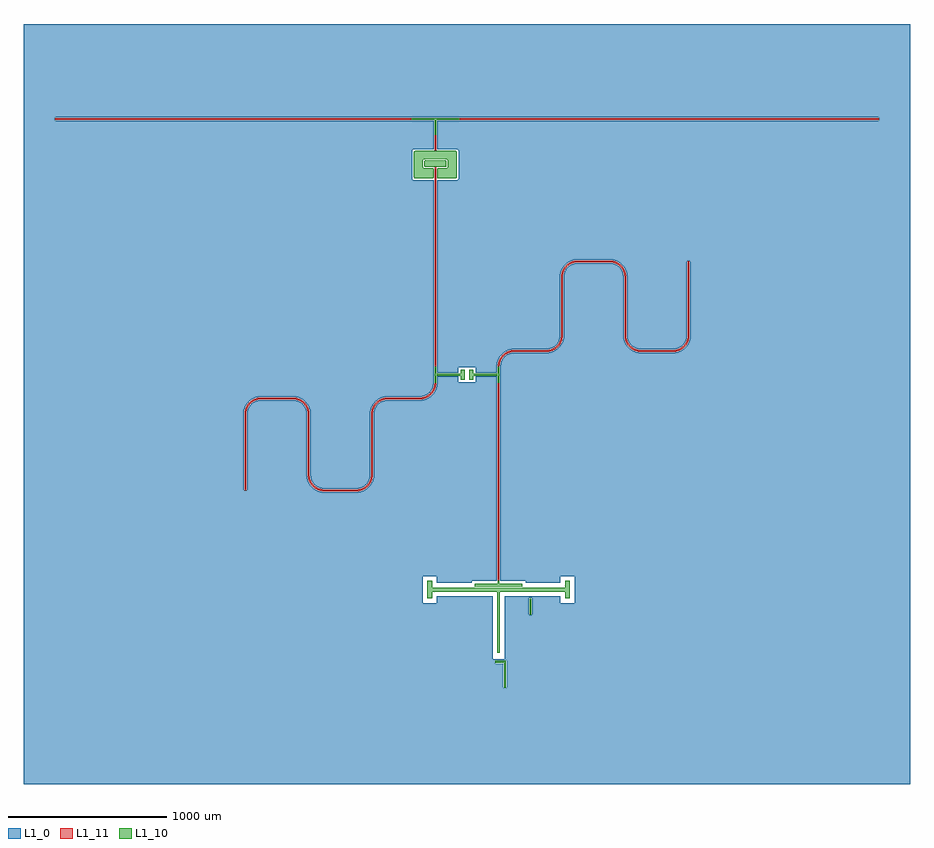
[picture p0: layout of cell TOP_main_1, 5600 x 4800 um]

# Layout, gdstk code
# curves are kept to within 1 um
import gdstk
lib = gdstk.Library(unit=1e-6, precision=1e-09)
def R(c, l, rs):  # rectangles x0, y0, x1, y1
    for r in rs: c.add(gdstk.rectangle(r[:2], r[2:], *l))
def P(c, l, *ps):  # polygons
    for p in ps: c.add(gdstk.Polygon(p, *l))
L1_0 = (1, 0)
L1_10 = (1, 10)
L1_11 = (1, 11)

ground_main_1 = lib.new_cell('ground_main_1')
R(ground_main_1, L1_0, [(-1014.232,-2600,-640.645,-1839), (-640.645,-2600,-344.276,-1839), (-344.276,-2600,-54.765,-1839), (-1014.232,-1839,-640.645,-1823), (-640.645,-1839,-344.276,-1823), (-344.276,-1839,-54.765,-1823), (-1014.232,1611,-640.645,2200), (-640.645,1611,-344.276,2200), (-344.276,1611,-54.765,2200), (-54.765,1611,296.342,2200), (296.342,1611,642.289,2200), (642.289,1611,1013.557,2200)])
P(ground_main_1, L1_0, [(-1058.104,-186.08),(-1075.369,-179.232),(-1096.342,-176.04),(-1301,-176),(-1322.06,-178.557),(-1342.15,-186.218)],
  [(-696.342,-734.687),(-680.53,-732.767),(-665.324,-728.028),(-651.22,-720.626),(-640.645,-712.596),(-640.645,1589),(-1014.232,1589),(-1014.232,-193.913),(-1004.746,-207.289),(-996.813,-223.285),(-991.572,-240.353),(-989.161,-258.045),(-987.998,-659.968),(-985.015,-672.907),(-980.12,-685.25),(-966.869,-705.081),(-957.339,-714.328),(-946.526,-722.035),(-934.676,-728.028),(-922.06,-732.17),(-901,-734.727)],
  [(-640.645,-739.961),(-666.713,-751.881),(-693.045,-756.565),(-909.927,-756.364),(-930.428,-752.717),(-952.525,-743.913),(-972.212,-730.564),(-988.57,-713.296),(-998.186,-698.252),(-1004.253,-684.66),(-1009.029,-667.456),(-1010.839,-652.682),(-1011,-264),(-1014.232,-240.369),(-1014.232,-1823),(-640.645,-1823)],
  [(-638.682,-710.803),(-628.12,-698.881),(-619.88,-685.25),(-614.232,-670.357),(-611.361,-654.691),(-610.96,-261.021),(-607.749,-237.453),(-598.186,-212.475),(-584.838,-192.788),(-567.569,-176.43),(-547.188,-164.167),(-524.647,-156.572),(-503.979,-154.04),(-344.276,-154),(-344.276,1217.387),(-347,1225),(-347,1398),(-344.276,1405.613),(-344.276,1589),(-640.645,1589),(-640.645,-712.596)],
  [(-501,-176),(-516.862,-177.441),(-529.706,-180.814),(-541.896,-186.08),(-555.271,-194.728),(-566.869,-205.645),(-574.899,-216.22),(-581.247,-227.884),(-586.443,-242.94),(-589,-264),(-589.645,-658.62),(-595.747,-684.66),(-606.316,-705.969),(-621.218,-724.508),(-640.645,-739.961),(-640.645,-1823),(-344.276,-1823),(-344.276,-176)],
  [(-189,1589),(-189,1410),(-65,1410),(-59.343,1408.583),(-54.765,1404.238),(-54.765,1589)],
  [(-343.485,1406.485),(-335,1410),(-211,1410),(-211,1589),(-344.276,1589)],
  [(-56,31.5),(-54.765,33.348),(-54.765,1218.762),(-59.343,1214.417),(-65,1213),(-189,1213),(-189,-4),(-56,-4)],
  [(-299,-154),(-283.138,-152.559),(-265.324,-147.301),(-251.22,-139.899),(-238.682,-130.076),(-228.12,-118.154),(-219.88,-104.524),(-213.557,-87.06),(-211.161,-71.313),(-211,1213),(-335,1213),(-339.592,1213.913),(-344.276,1217.387),(-344.276,-154)],
  [(-54.765,-1415),(-190,-1415),(-190,-1457.5),(-280,-1457.5),(-280,-1287.5),(-190,-1287.5),(-190,-1330),(-54.765,-1330),(-54.765,-63.348),(-56,-61.5),(-56,-26),(-189,-26),(-189.161,-71.955),(-193.01,-95.428),(-197.953,-109.467),(-204.746,-122.711),(-213.265,-134.916),(-223.353,-145.86),(-234.827,-155.341),(-247.475,-163.186),(-272.453,-172.749),(-293.045,-175.839),(-344.276,-176),(-344.276,-1823),(-54.765,-1823)],
  [(-54.39,33.462),(54.581,33.414),(56,31.5),(56,-4),(189,-4),(189.04,38.979),(190.971,56.729),(197.953,79.467),(209.659,100.173),(225.543,117.879),(247.475,133.186),(272.453,142.749),(296.342,145.964),(296.342,1589),(-54.765,1589),(-54.765,1404.238),(-53,1398),(-53,1225),(-54.765,1218.762)],
  [(296.342,123.96),(280.53,122.04),(265.324,117.301),(251.22,109.899),(238.682,100.076),(228.12,88.154),(219.88,74.524),(213.557,57.06),(211.161,41.313),(211,-1315),(296.342,-1315)],
  [(30,-1315),(189,-1315),(189,-26),(56,-26),(56,-61.5),(54.581,-63.414),(-54.765,-63.348),(-54.765,-1330),(30,-1330)],
  [(162.5,-1812.5),(162.5,-1415),(-54.765,-1415),(-54.765,-1823),(179.5,-1823),(179.5,-1817),(250.5,-1817),(250.5,-1993.5),(244.5,-1993.5),(244.5,-1823),(-54.765,-1823),(-54.765,-1839),(179.5,-1839),(179.5,-1833),(234.5,-1833),(234.5,-1993.5),(228.5,-1993.5),(228.5,-1839),(-54.765,-1839),(-54.765,-2600),(296.342,-2600),(296.342,-1415),(237.5,-1415),(237.5,-1812.5)],
  [(501,146),(516.862,147.441),(529.706,150.814),(541.896,156.08),(555.271,164.728),(566.869,175.645),(574.899,186.22),(581.247,197.884),(586.443,212.94),(589,234),(589.645,613.703),(595.747,639.743),(606.316,661.052),(623.353,681.669),(642.289,696.064),(642.289,1589),(296.342,1589),(296.342,145.964)],
  [(590,-1287.5),(642.289,-1287.5),(642.289,669.091),(629.728,656.081),(621.08,642.705),(614.232,625.44),(611.361,609.774),(610.96,231.021),(609.551,216.204),(606.155,201.713),(600.833,187.812),(593.684,174.758),(580.86,158.353),(562.731,142.954),(541.715,131.813),(518.796,125.449),(501,124),(296.342,123.96),(296.342,-1315),(370,-1315),(370,-1330),(590,-1330)],
  [(642.289,-1457.5),(590,-1457.5),(590,-1415),(296.342,-1415),(296.342,-1530),(389,-1530),(389,-1424),(411,-1424),(411,-1530),(389,-1530),(296.342,-1530),(296.342,-2600),(642.289,-2600)],
  [(647.475,698.996),(669.572,707.8),(693.045,711.648),(909.927,711.447),(930.428,707.8),(952.525,698.996),(972.212,685.647),(988.57,668.379),(998.186,653.335),(1004.253,639.743),(1009.029,622.539),(1010.839,607.765),(1011,234),(1013.557,212.94),(1013.557,1589),(642.289,1589),(642.289,696.064)],
  [(1013.557,164.73),(1004.746,177.289),(996.813,193.285),(992.251,207.453),(989.363,225.073),(988.96,604.468),(987.559,617.672),(984.186,630.515),(978.92,642.705),(971.88,653.964),(959.355,667.679),(941.896,679.73),(924.631,686.577),(906.313,689.649),(691.036,689.449),(677.94,687.253),(665.324,683.111),(653.474,677.118),(642.289,669.091),(642.289,-1287.5),(680,-1287.5),(680,-1457.5),(642.289,-1457.5),(642.289,-2600),(1013.557,-2600)],
  [(-1014.232,-240.369),(-1019.88,-225.476),(-1029.728,-209.729),(-1042.661,-196.399),(-1057.85,-186.218),(-1342.15,-186.218),(-1357.339,-196.399),(-1370.272,-209.729),(-1378.92,-223.104),(-1384.186,-235.294),(-1387.559,-248.138),(-1388.96,-261.342),(-1389,-745.727),(-1411,-745.727),(-1410.839,-258.045),(-1407.749,-237.453),(-1400.833,-217.812),(-1392.046,-202.269),(-1378.782,-186.218),(-2800,-186.218),(-2800,-2600),(-1014.232,-2600)],
  [(-1014.232,-186.218),(-1021.218,-186.218),(-1019.14,-188.353),(-1017.121,-190.543),(-1015.162,-192.788),(-1014.232,-193.913)],
  [(-1014.232,1589),(-2600,1589),(-2600,1611),(-1014.232,1611),(-1014.232,2200),(-2800,2200),(-2800,-186.218),(-1378.782,-186.218),(-1362.731,-172.954),(-1341.715,-161.813),(-1321.729,-155.971),(-1301,-154),(-1087.107,-154.645),(-1072.453,-157.251),(-1055.533,-162.953),(-1037.269,-172.954),(-1021.218,-186.218),(-1014.232,-186.218)],
  [(2800,158.691),(1381.171,158.691),(1365.173,144.659),(1344.467,132.953),(1324.647,126.572),(1301,124),(1087.107,124.645),(1069.572,128.01),(1052.812,134.167),(1034.827,144.659),(1018.829,158.691),(1013.557,158.691),(1013.557,-2600),(2800,-2600)],
  [(1303.658,146.04),(1324.631,149.232),(1346.526,158.691),(1053.474,158.691),(1072.82,149.985),(1093.687,146.161)],
  [(2800,2200),(1013.557,2200),(1013.557,1611),(2600,1611),(2600,1589),(1013.557,1589),(1013.557,212.94),(1017.699,200.324),(1023.691,188.474),(1031.399,177.661),(1040.645,168.131),(1053.474,158.691),(1346.526,158.691),(1361.318,169.924),(1373.423,184.01),(1384.186,205.294),(1387.559,218.138),(1388.96,231.342),(1389,700.81),(1411,700.81),(1410.839,228.045),(1407.749,207.453),(1402.047,190.533),(1393.684,174.758),(1381.171,158.691),(2800,158.691)],
  [(1017.121,160.543),(1015.162,162.788),(1013.557,164.73),(1013.557,158.691),(1018.829,158.691)])

top_main_1 = lib.new_cell('TOP_main_1')
P(top_main_1, L1_10, [(-205,1500),(-205,1595),(-350,1595),(-350,1605),(-50,1605),(-50,1595),(-195,1595),(-195,1500),(-205,1500)],
  [(-270,1330),(-267.657,1335.657),(-262.784,1337.961),(-136.439,1337.846),(-132.343,1335.657),(-130.154,1331.561),(-130.154,1303.439),(-132.925,1298.816),(-138,1297),(-263.561,1297.154),(-267.657,1299.343),(-269.846,1303.439)],
  [(-218.902,1225.005),(-213.779,1226.948),(-211.067,1232.022),(-211.861,1284.594),(-218.022,1288.933),(-270,1289),(-275.075,1290.816),(-277.961,1296.216),(-278,1338),(-275.657,1343.657),(-270.784,1345.961),(-211,1346),(-211,1398),(-326.902,1398),(-331.276,1396.753),(-333.954,1393.94),(-335,1389.902),(-335,1233.098),(-333.753,1228.724),(-327.098,1225.005)],
  [(-72.902,1225.005),(-67.489,1227.211),(-65.005,1232.902),(-65,1389.902),(-66.699,1394.917),(-73.098,1398),(-211,1398),(-211,1346),(-129.216,1345.961),(-124.343,1343.657),(-122.039,1338.784),(-122.039,1296.216),(-124.925,1290.816),(-130,1289),(-181.588,1288.971),(-187.954,1284.94),(-189,1233.098),(-187.301,1228.083),(-181.098,1225.005)],
  [(-195,35),(-195,-10),(-40,-10),(-39.546,16.769),(-16.235,17.348),(-15,15.5),(-15.152,-46.265),(-17,-47.5),(-39.414,-46.914),(-40,-20),(-195,-20),(-195,-65),(-205,-65),(-205,35)],
  [(16.804,-47.49),(15,-45.5),(15,15.5),(16.235,17.348),(39.546,16.769),(40,-10),(195,-10),(195,35),(205,35),(205,-65),(195,-65),(195,-20),(40,-20),(39.546,-46.769)],
  [(-250,-1317.5),(-250,-1427.5),(-220,-1427.5),(-220,-1385),(192.5,-1385),(192.5,-1772.5),(207.5,-1772.5),(207.5,-1385),(620,-1385),(620,-1427.5),(650,-1427.5),(650,-1317.5),(620,-1317.5),(620,-1360),(-220,-1360),(-220,-1317.5),(-250,-1317.5)],
  [(244.5,-1823),(234.5,-1823),(179.5,-1823),(179.5,-1833),(234.5,-1833),(234.5,-1993.5),(244.5,-1993.5),(244.5,-1833),(244.5,-1823)],
  [(395,-1430),(405,-1430),(405,-1530),(395,-1530),(395,-1430)],
  [(50,-1335),(50,-1355),(350,-1355),(350,-1335),(205,-1335),(205,-1315),(195,-1315),(195,-1335),(50,-1335)])
R(top_main_1, L1_11, [(195,-1315,205,-65), (-205,35,-195,1185), (-205,1185,-195,1297.001), (-205,1397.999,-195,1450), (-205,1450,-195,1500), (-2600,1595,-350,1605), (-50,1595,2600,1605)])
P(top_main_1, L1_11, [(-1395,-264),(-1393.572,-247.677),(-1389.331,-231.85),(-1382.406,-217),(-1373.008,-203.578),(-1361.422,-191.992),(-1348,-182.594),(-1333.15,-175.669),(-1317.323,-171.428),(-1301,-170),(-1088.087,-170.636),(-1072.04,-173.949),(-1054.388,-181.261),(-1040.698,-190.265),(-1028.78,-201.509),(-1028.78,-187.29),(-1037.408,-180.2),(-1059.864,-167.645),(-1084.715,-160.986),(-1301,-160),(-1326.53,-163.182),(-1350.499,-172.535),(-1369.302,-185.573),(-1386.465,-204.74),(-1399.365,-230.231),(-1403.582,-246.882),(-1404.961,-261.134),(-1405,-745.727),(-1395,-745.727)],
  [(-699,-740.727),(-901,-740.727),(-917.323,-739.299),(-938.231,-733.039),(-954.916,-723.727),(-969.373,-711.233),(-982.406,-693.727),(-991.797,-671.056),(-994.96,-649.461),(-995.355,-255.412),(-998.924,-235.701),(-1006.206,-217.041),(-1016.929,-200.122),(-1028.78,-187.29),(-1028.78,-201.509),(-1020.464,-212.346),(-1012.688,-226.769),(-1008.203,-239.671),(-1005.358,-255.807),(-1004.961,-649.592),(-1001.076,-675.025),(-989.6,-701.189),(-975.545,-719.246),(-957.883,-733.792),(-937.466,-744.124),(-915.285,-749.741),(-699,-750.727)],
  [(-696.134,-750.687),(-679.062,-748.798),(-662.534,-744.124),(-647,-736.793),(-632.885,-727.006),(-620.573,-715.029),(-610.4,-701.189),(-602.645,-685.863),(-597.517,-669.469),(-595,-646.727),(-594.841,-258.534),(-592.466,-242.322),(-587.312,-226.769),(-579.536,-212.346),(-569.373,-199.493),(-569.373,-185.636),(-583.071,-200.122),(-593.794,-217.041),(-601.076,-235.701),(-604.645,-255.412),(-605,-646.727),(-607.534,-668.405),(-611.641,-681.432),(-617.594,-693.727),(-625.265,-705.029),(-634.493,-715.1),(-647.346,-725.263),(-664.295,-734.085),(-682.677,-739.299),(-699,-740.727),(-699,-750.727)],
  [(-567.468,-197.532),(-554.916,-187),(-540.726,-178.807),(-527.96,-173.949),(-511.913,-170.636),(-296.134,-169.961),(-281.882,-168.582),(-265.231,-164.365),(-249.501,-157.465),(-235.122,-148.071),(-224.455,-138.519),(-213.535,-125.26),(-204.947,-110.385),(-199.742,-97.046),(-195.986,-80.285),(-195,-65),(-205,-65),(-205.992,-79.624),(-209.771,-95.567),(-216.261,-110.612),(-225.265,-124.302),(-242.867,-141.4),(-254.388,-148.739),(-266.85,-154.331),(-282.677,-158.572),(-296.266,-159.96),(-515.285,-160.986),(-537.466,-166.603),(-560.26,-178.535),(-569.373,-185.636),(-569.373,-199.493)],
  [(205,36),(205.992,49.624),(209.771,65.567),(214.999,78.187),(222,89.916),(230.627,100.507),(242.867,111.4),(254.388,118.739),(266.85,124.331),(282.677,128.572),(296.266,129.96),(501,130),(518.118,131.418),(540.136,137.645),(562.592,150.2),(571.22,157.29),(571.22,171.509),(559.302,160.265),(545.612,151.261),(527.96,143.949),(511.913,140.636),(296.134,139.961),(279.062,138.071),(262.534,133.397),(244.538,124.6),(230.698,114.427),(218.721,102.115),(208.933,88),(199.742,67.046),(195.355,44.588),(195,35),(205,35)],
  [(571.437,157.485),(584.8,172.408),(595.053,189.615),(601.818,208.47),(604.645,225.412),(605.04,604.544),(608.949,628.769),(618.995,651.157),(630.627,666.316),(645.084,678.81),(661.769,688.122),(679.992,693.868),(699,695.81),(901,695.81),(901,705.81),(699,705.81),(681.882,704.391),(659.864,698.165),(639.74,687.275),(624.455,674.329),(610.4,656.272),(598.924,630.108),(595.039,604.675),(594.642,225.807),(591.797,209.671),(587.312,196.769),(579.536,182.346),(571.22,171.509)],
  [(1030.627,169.493),(1020.464,182.346),(1012.688,196.769),(1007.534,212.322),(1005.159,228.534),(1005,601.81),(1001.818,627.34),(996.24,643.586),(988.065,658.692),(977.515,672.247),(964.878,683.88),(950.499,693.275),(934.769,700.175),(918.118,704.391),(901,705.81),(901,695.81),(917.323,694.382),(933.15,690.141),(950.348,681.815),(963.491,672.03),(974.735,660.112),(982.406,648.81),(988.359,636.515),(992.466,623.488),(995,601.81),(995.355,225.412),(1000.635,200.231),(1010.4,179.538),(1018.721,167.885),(1030.627,155.636)],
  [(1303.866,130.039),(1320.938,131.929),(1337.466,136.603),(1355.462,145.4),(1369.302,155.573),(1381.279,167.885),(1391.067,182),(1399.365,200.231),(1403.582,216.882),(1405,234),(1405,700.81),(1395,700.81),(1394.841,228.534),(1390.229,204.433),(1385.001,191.813),(1378,180.084),(1363.491,163.78),(1345.612,151.261),(1325.329,143.203),(1303.734,140.04),(1088.087,140.636),(1072.04,143.949),(1056.813,149.999),(1042.867,158.6),(1030.627,169.493),(1030.627,155.636),(1039.74,148.535),(1062.534,136.603),(1084.715,130.986)])
top_main_1.add(gdstk.Reference(ground_main_1, (0,0)))

lib.write_gds('TOP_main_1.gds')
